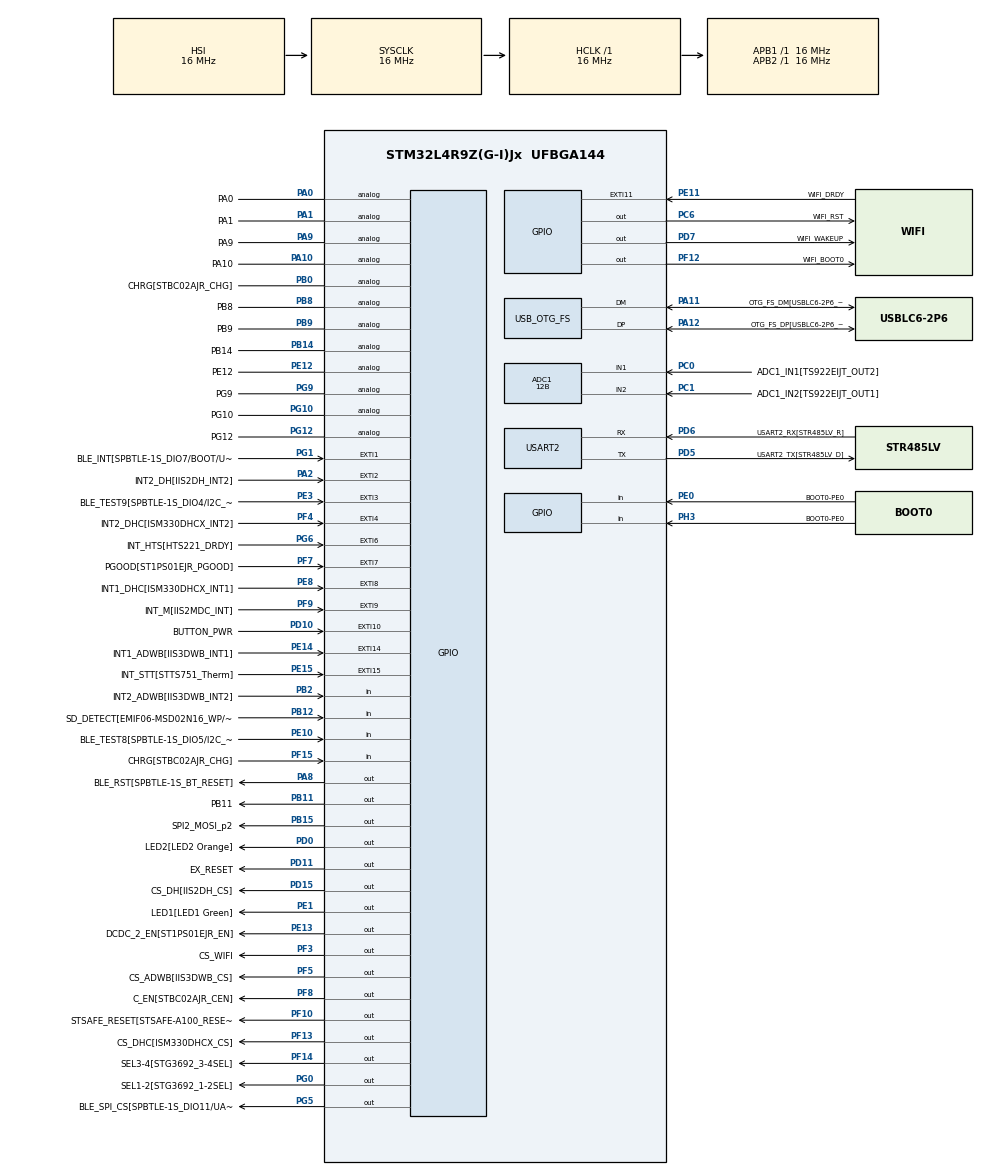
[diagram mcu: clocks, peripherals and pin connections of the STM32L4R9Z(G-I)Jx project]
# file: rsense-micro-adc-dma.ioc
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ADC1.Channel-0\#ChannelRegularConversion=ADC_CHANNEL_1
ADC1.ClockPrescaler=ADC_CLOCK_ASYNC_DIV8
ADC1.ContinuousConvMode=ENABLE
ADC1.DMAContinuousRequests=ENABLE
ADC1.EnableInjectedConversion=DISABLE
ADC1.NbrOfConversion=1
ADC1.NbrOfConversionFlag=1
ADC1.OffsetNumber-0\#ChannelRegularConversion=ADC_OFFSET_NONE
ADC1.Rank-0\#ChannelRegularConversion=1
ADC1.Resolution=ADC_RESOLUTION_12B
ADC1.SamplingTime-0\#ChannelRegularConversion=ADC_SAMPLETIME_2CYCLES_5
ADC1.SingleDiff-0\#ChannelRegularConversion=ADC_DIFFERENTIAL_ENDED
ADC1.master=1
Dma.ADC1.0.Direction=DMA_PERIPH_TO_MEMORY
Dma.ADC1.0.EventEnable=DISABLE
Dma.ADC1.0.Instance=DMA1_Channel1
Dma.ADC1.0.MemDataAlignment=DMA_MDATAALIGN_HALFWORD
Dma.ADC1.0.MemInc=DMA_MINC_ENABLE
Dma.ADC1.0.Mode=DMA_CIRCULAR
Dma.ADC1.0.PeriphDataAlignment=DMA_PDATAALIGN_HALFWORD
Dma.ADC1.0.PeriphInc=DMA_PINC_DISABLE
Dma.ADC1.0.Polarity=HAL_DMAMUX_REQUEST_GEN_RISING
Dma.ADC1.0.Priority=DMA_PRIORITY_LOW
Dma.ADC1.0.RequestNumber=1
Dma.ADC1.0.SignalID=NONE
Dma.ADC1.0.SyncEnable=DISABLE
Dma.ADC1.0.SyncPolarity=HAL_DMAMUX_SYNC_NO_EVENT
Dma.ADC1.0.SyncRequestNumber=1
Dma.ADC1.0.SyncSignalID=NONE
Dma.Request0=ADC1
Dma.Request1=USART2_TX
Dma.USART2_TX.1.Direction=DMA_MEMORY_TO_PERIPH
Dma.USART2_TX.1.EventEnable=DISABLE
Dma.USART2_TX.1.Instance=DMA1_Channel2
Dma.USART2_TX.1.MemDataAlignment=DMA_MDATAALIGN_BYTE
Dma.USART2_TX.1.MemInc=DMA_MINC_ENABLE
Dma.USART2_TX.1.Mode=DMA_NORMAL
Dma.USART2_TX.1.PeriphDataAlignment=DMA_PDATAALIGN_BYTE
Dma.USART2_TX.1.PeriphInc=DMA_PINC_DISABLE
Dma.USART2_TX.1.Polarity=HAL_DMAMUX_REQUEST_GEN_RISING
Dma.USART2_TX.1.Priority=DMA_PRIORITY_LOW
Dma.USART2_TX.1.RequestNumber=1
Dma.USART2_TX.1.SignalID=NONE
Dma.USART2_TX.1.SyncEnable=DISABLE
Dma.USART2_TX.1.SyncPolarity=HAL_DMAMUX_SYNC_NO_EVENT
Dma.USART2_TX.1.SyncRequestNumber=1
Dma.USART2_TX.1.SyncSignalID=NONE
Mcu.Family=STM32L4
Mcu.Name=STM32L4R9Z(G-I)Jx
Mcu.Package=UFBGA144
NVIC.DMA1_Channel1_IRQn=true\:0\:0\:false\:false\:true\:false\:true
NVIC.DMA1_Channel2_IRQn=true\:0\:0\:false\:false\:true\:false\:true
NVIC.OTG_FS_IRQn=true\:0\:0\:false\:false\:true\:false\:true
NVIC.PriorityGroup=NVIC_PRIORITYGROUP_4
PA0.GPIO_Label=PA0
PA0.Signal=GPIO_Analog
PA1.GPIO_Label=PA1
PA1.Signal=GPIO_Analog
PA10.GPIO_Label=PA10
PA10.Signal=GPIO_Analog
PA11.GPIO_Label=OTG_FS_DM[USBLC6-2P6_D2]
PA11.Mode=Device_Only
PA11.Signal=USB_OTG_FS_DM
PA12.GPIO_Label=OTG_FS_DP[USBLC6-2P6_D1]
PA12.Mode=Device_Only
PA12.Signal=USB_OTG_FS_DP
PA13\ (JTMS/SWDIO).GPIO_Label=SWDIO
PA13\ (JTMS/SWDIO).Mode=Serial_Wire
PA13\ (JTMS/SWDIO).Signal=SYS_JTMS-SWDIO
PA14\ (JTCK/SWCLK).GPIO_Label=SWDCLK
PA14\ (JTCK/SWCLK).Mode=Serial_Wire
PA14\ (JTCK/SWCLK).Signal=SYS_JTCK-SWCLK
PA15\ (JTDI).GPIO_Label=EX_PWM
PA15\ (JTDI).Signal=S_TIM2_CH1
PA2.GPIO_Label=INT2_DH[IIS2DH_INT2]
PA2.Signal=GPXTI2
PA4.GPIO_Label=DAC1_OUT1
PA4.Signal=COMP_DAC11_group
PA8.GPIO_Label=BLE_RST[SPBTLE-1S_BT_RESET]
PA8.Signal=GPIO_Output
PA9.GPIO_Label=PA9
PA9.Signal=GPIO_Analog
PB0.GPIO_Label=CHRG[STBC02AJR_CHG]
PB0.Signal=GPIO_Analog
PB1.GPIO_Label=USART3_RTS[STG3692_3S2]
PB1.Signal=USART3_RTS
PB10.GPIO_Label=DFSDM1_D7
PB10.GPIO_PuPd=GPIO_PULLDOWN
PB10.GPIO_Speed=GPIO_SPEED_FREQ_VERY_HIGH
PB10.Signal=S_DATAIN7DFSDM1
PB11.GPIO_Label=PB11
PB11.Signal=GPIO_Output
PB12.GPIO_Label=SD_DETECT[EMIF06-MSD02N16_WP/CD]
PB12.Signal=GPIO_Input
PB13.GPIO_Label=USART3_CTS
PB13.Signal=USART3_CTS
PB14.GPIO_Label=PB14
PB14.Signal=GPIO_Analog
PB15.GPIO_Label=SPI2_MOSI_p2
PB15.Signal=GPIO_Output
PB2.GPIO_Label=INT2_ADWB[IIS3DWB_INT2]
PB2.Signal=GPIO_Input
PB3\ (JTDO/TRACESWO).GPIO_Label=SPI3_CLK[SENSORS_SCL]
PB3\ (JTDO/TRACESWO).Signal=SPI3_SCK
PB4\ (NJTRST).GPIO_Label=SPI3_MISO[SENSORS_SDO]
PB4\ (NJTRST).Signal=SPI3_MISO
PB5.GPIO_Label=SPI3_MOSI[SENSORS_SDA]
PB5.Signal=SPI3_MOSI
PB6.GPIO_Label=DFSDM1_DATIN5[IMP34DT05_DOUT]
PB6.GPIO_PuPd=GPIO_PULLDOWN
PB6.GPIO_Speed=GPIO_SPEED_FREQ_VERY_HIGH
PB6.Signal=S_DATAIN5DFSDM1
PB8.GPIO_Label=PB8
PB8.Signal=GPIO_Analog
PB9.GPIO_Label=PB9
PB9.Signal=GPIO_Analog
PC0.GPIO_Label=ADC1_IN1[TS922EIJT_OUT2]
PC0.Signal=ADCx_IN1
PC1.GPIO_Label=ADC1_IN2[TS922EIJT_OUT1]
PC1.Signal=ADCx_IN2
PC10.GPIO_Label=SDMMC_D2[EMIF06-MSD02N16_DAT2_In]
PC10.Signal=SDMMC1_D2
PC11.GPIO_Label=SDMMC_D3[EMIF06-MSD02N16_DAT3_In]
PC11.Signal=SDMMC1_D3
PC12.GPIO_Label=SDMMC_CK[EMIF06-MSD02N16_CLK_In]
PC12.Signal=SDMMC1_CK
PC13.GPIO_Label=RTC_TAMP1
PC13.Signal=RTC_TAMP1
PC14-OSC32_IN\ (PC14).GPIO_Label=OSC32_IN
PC14-OSC32_IN\ (PC14).Signal=RCC_OSC32_IN
PC15-OSC32_OUT\ (PC15).GPIO_Label=OSC32_OUT
PC15-OSC32_OUT\ (PC15).Signal=RCC_OSC32_OUT
PC2.GPIO_Label=SPI2_MISO[SPBTLE-1S_DIO2/SPI_MISO]
PC2.Signal=SPI2_MISO
PC3.GPIO_Label=SPI2_MOSI[SPBTLE-1S_DIO3/SPI_MOSI]
PC3.Signal=SPI2_MOSI
PC5.GPIO_Label=PC5/WKUP5
PC5.Signal=SYS_WKUP5
PC6.GPIO_Label=WIFI_RST
PC6.Signal=GPIO_Output
PC8.GPIO_Label=SDMMC_D0[EMIF06-MSD02N16_DAT0_In]
PC8.Signal=SDMMC1_D0
PC9.GPIO_Label=SDMMC_D1[EMIF06-MSD02N16_DAT1_In]
PC9.Signal=SDMMC1_D1
PD0.GPIO_Label=LED2[LED2 Orange]
PD0.Signal=GPIO_Output
PD1.GPIO_Label=SPI2_CLK[SPBTLE-1S_DIO0/SPI_CLK]
PD1.Signal=SPI2_SCK
PD10.GPIO_Label=BUTTON_PWR
PD10.Signal=GPXTI10
PD11.GPIO_Label=EX_RESET 
PD11.Signal=GPIO_Output
PD12.GPIO_Label=I2C4_SCL
PD12.Signal=I2C4_SCL
PD13.GPIO_Label=I2C4_SDA
PD13.Signal=I2C4_SDA
PD15.GPIO_Label=CS_DH[IIS2DH_CS]
PD15.Signal=GPIO_Output
PD2.GPIO_Label=SDMMC_CMD[EMIF06-MSD02N16_CMD_In]
PD2.Signal=SDMMC1_CMD
PD4.GPIO_Label=USART2_RTS[STR485LV_DE]
PD4.Signal=USART2_RTS
PD5.GPIO_Label=USART2_TX[STR485LV_D]
PD5.Mode=Asynchronous
PD5.Signal=USART2_TX
PD6.GPIO_Label=USART2_RX[STR485LV_R]
PD6.Mode=Asynchronous
PD6.Signal=USART2_RX
PD7.GPIO_Label=WIFI_WAKEUP
PD7.Signal=GPIO_Output
PD8.GPIO_Label=USART3_TX[STG3692_1S1]
PD8.Signal=USART3_TX
PD9.GPIO_Label=USART3_RX[STG3692_2S1]
PD9.Signal=USART3_RX
PE0.GPIO_Label=BOOT0-PE0
PE0.Signal=GPIO_Input
PE1.GPIO_Label=LED1[LED1 Green]
PE1.Signal=GPIO_Output
PE10.GPIO_Label=BLE_TEST8[SPBTLE-1S_DIO5/I2C_SDA]
PE10.Signal=GPIO_Input
PE11.GPIO_Label=WIFI_DRDY
PE11.Signal=GPXTI11
PE12.GPIO_Label=PE12
PE12.Signal=GPIO_Analog
PE13.GPIO_Label=DCDC_2_EN[ST1PS01EJR_EN]
PE13.Signal=GPIO_Output
PE14.GPIO_Label=INT1_ADWB[IIS3DWB_INT1]
PE14.Signal=GPXTI14
PE15.GPIO_Label=INT_STT[STTS751_Therm]
PE15.Signal=GPXTI15
PE2.GPIO_Label=SAI1_MCLK_A
PE2.Signal=SAI1_MCLK_A
PE3.GPIO_Label=BLE_TEST9[SPBTLE-1S_DIO4/I2C_CLK]
PE3.Signal=GPXTI3
PE4.GPIO_Label=SAI1_FS_A/DFSDM_D3
PE4.Signal=SAI1_FS_A
PE5.GPIO_Label=SAI1_SCK_A
PE5.Signal=SAI1_SCK_A
PE6.GPIO_Label=SAI1_SD_A
PE6.Signal=SAI1_SD_A
PE7.GPIO_Label=SAI1_SD_B
PE7.Signal=SAI1_SD_B
PE8.GPIO_Label=INT1_DHC[ISM330DHCX_INT1]
PE8.Signal=GPXTI8
PE9.GPIO_Label=DFSDM1_CKOUT[IMP34DT05_CLK]
PE9.GPIO_PuPd=GPIO_PULLDOWN
PE9.GPIO_Speed=GPIO_SPEED_FREQ_VERY_HIGH
PE9.Signal=S_CKOUTDFSDM1
PF0.GPIO_Label=I2C2_SDA[SENSORS_SDA]
PF0.Signal=I2C2_SDA
PF1.GPIO_Label=I2C2_SDA[SENSORS_SCL]
PF1.Signal=I2C2_SCL
PF10.GPIO_Label=STSAFE_RESET[STSAFE-A100_RESET]
PF10.Signal=GPIO_Output
PF12.GPIO_Label=WIFI_BOOT0
PF12.Signal=GPIO_Output
PF13.GPIO_Label=CS_DHC[ISM330DHCX_CS]
PF13.Signal=GPIO_Output
PF14.GPIO_Label=SEL3-4[STG3692_3-4SEL]
PF14.Signal=GPIO_Output
PF15.GPIO_Label=CHRG[STBC02AJR_CHG]
PF15.Signal=GPIO_Input
PF2.GPIO_Label=I2C2_SMBA[STTS751_EV]
PF2.Signal=I2C2_SMBA
PF3.GPIO_Label=CS_WIFI
PF3.Signal=GPIO_Output
PF4.GPIO_Label=INT2_DHC[ISM330DHCX_INT2]
PF4.Signal=GPXTI4
PF5.GPIO_Label=CS_ADWB[IIS3DWB_CS]
PF5.Signal=GPIO_Output
PF6.GPIO_Label=SW_SEL[STBC02AJR_SW_SEL]
PF6.GPIO_Speed=GPIO_SPEED_FREQ_HIGH
PF6.Signal=S_TIM5_CH1
PF7.GPIO_Label=PGOOD[ST1PS01EJR_PGOOD]
PF7.Signal=GPXTI7
PF8.GPIO_Label=C_EN[STBC02AJR_CEN]
PF8.Signal=GPIO_Output
PF9.GPIO_Label=INT_M[IIS2MDC_INT]
PF9.Signal=GPXTI9
PG0.GPIO_Label=SEL1-2[STG3692_1-2SEL]
PG0.Signal=GPIO_Output
PG1.GPIO_Label=BLE_INT[SPBTLE-1S_DIO7/BOOT/UART_CTS]
PG1.Signal=GPXTI1
PG10.GPIO_Label=PG10
PG10.Signal=GPIO_Analog
PG12.GPIO_Label=PG12
PG12.Signal=GPIO_Analog
PG2.GPIO_Label=SPI1_CLK
PG2.Signal=SPI1_SCK
PG3.GPIO_Label=SPI1_MISO
PG3.Signal=SPI1_MISO
PG4.GPIO_Label=SPI1_MOSI
PG4.Signal=SPI1_MOSI
PG5.GPIO_Label=BLE_SPI_CS[SPBTLE-1S_DIO11/UART_RXD]
PG5.Signal=GPIO_Output
PG6.GPIO_Label=INT_HTS[HTS221_DRDY]
PG6.Signal=GPXTI6
PG7.GPIO_Label=I2C3_SCL
PG7.Signal=I2C3_SCL
PG8.GPIO_Label=I2C3_SDA
PG8.Signal=I2C3_SDA
PG9.GPIO_Label=PG9
PG9.Signal=GPIO_Analog
PH0-OSC_IN\ (PH0).GPIO_Label=OSC_IN
PH0-OSC_IN\ (PH0).Signal=RCC_OSC_IN
PH1-OSC_OUT\ (PH1).GPIO_Label=OSC_OUT
PH1-OSC_OUT\ (PH1).Signal=RCC_OSC_OUT
PH3-BOOT0.GPIO_Label=BOOT0-PE0
PH3-BOOT0.Signal=GPIO_Input
ProjectManager.HeapSize=0x200
ProjectManager.StackSize=0x400
ProjectManager.TargetToolchain=STM32CubeIDE
RCC.ADCCLockSelection=RCC_ADCCLKSOURCE_SYSCLK
RCC.ADCFreq_Value=16000000
RCC.AHBFreq_Value=16000000
RCC.APB1Freq_Value=16000000
RCC.APB1TimFreq_Value=16000000
RCC.APB2Freq_Value=16000000
RCC.APB2TimFreq_Value=16000000
RCC.CK48CLockSelection=RCC_USBCLKSOURCE_HSI48
RCC.CortexFreq_Value=16000000
RCC.DSITX_Div=1
RCC.HCLKFreq_Value=16000000
RCC.HSE_VALUE=16000000
RCC.HSI48_VALUE=48000000
RCC.HSI_VALUE=16000000
RCC.LSE_VALUE=32768
RCC.MSI_VALUE=4000000
RCC.PLLDSIODF=DSI_PLL_OUT_DIV2
RCC.PLLM1=2
RCC.PLLM2=5
RCC.PLLM3=2
RCC.PLLN=30
RCC.PLLSAI1N=96
RCC.PLLSAI1P=RCC_PLLP_DIV25
RCC.PLLSAI1Q=RCC_PLLQ_DIV4
RCC.PLLSAI1R=RCC_PLLR_DIV4
RCC.PLLSourceVirtual=RCC_PLLSOURCE_HSI
RCC.RTCClockSelection=RCC_RTCCLKSOURCE_LSE
RCC.SDMMCClockSelection=RCC_SDIOCLKSOURCE_CLK48
RCC.SYSCLKFreq_VALUE=16000000
RCC.SYSCLKSource=RCC_SYSCLKSOURCE_HSI
RCC.USBFreq_Value=48000000
RCC.VCOOutputFreq_Value=240000000
SH.ADCx_IN1.0=ADC1_IN1,IN1-Differential
SH.ADCx_IN2.0=ADC1_IN2,IN1-Differential
SH.COMP_DAC11_group.0=DAC1_OUT1
SH.S_CKOUTDFSDM1.0=DFSDM1_CKOUT
SH.S_DATAIN5DFSDM1.0=DFSDM1_DATIN5
SH.S_DATAIN7DFSDM1.0=DFSDM1_DATIN7
SH.S_TIM2_CH1.0=TIM2_CH1
SH.S_TIM5_CH1.0=TIM5_CH1
USART2.VirtualMode-Asynchronous=VM_ASYNC
USB_DEVICE.CLASS_NAME_FS=CDC
USB_DEVICE.VirtualMode=Cdc
USB_DEVICE.VirtualModeFS=Cdc_FS
USB_OTG_FS.VirtualMode=Device_Only
VP_USB_DEVICE_VS_USB_DEVICE_CDC_FS.Mode=CDC_FS
board=STEVAL-STWINKT1

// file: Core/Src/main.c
/* USER CODE BEGIN Header */
/**
 ******************************************************************************
 * @file           : main.c
 * @brief          : Main program body
 ******************************************************************************
 * @attention
 *
 * <h2><center>&copy; Copyright (c) 2021 STMicroelectronics.
 * All rights reserved.</center></h2>
 *
 * This software component is licensed by ST under BSD 3-Clause license,
 * the "License"; You may not use this file except in compliance with the
 * License. You may obtain a copy of the License at:
 *                        opensource.org/licenses/BSD-3-Clause
 *
 ******************************************************************************
 */
/* USER CODE END Header */
#include "main.h"
#include "usb_device.h"

/* USER CODE BEGIN Includes */
#define ARM_MATH_CM4
#include "arm_math.h"
#include <stdio.h>
#include <stdlib.h>
#include <audio_fft.h>
#include <math.h>
//#include "usbd_cdc_if.h"

/* USER CODE END Includes */

ADC_HandleTypeDef hadc1;
DMA_HandleTypeDef hdma_adc1;

UART_HandleTypeDef huart2;
DMA_HandleTypeDef hdma_usart2_tx;

/* USER CODE BEGIN PV */
#define ADC_BUF_LEN 512//4096
int16_t adc_buf[ADC_BUF_LEN];

/* USER CODE END PV */

void SystemClock_Config(void);
static void MX_GPIO_Init(void);
static void MX_DMA_Init(void);
static void MX_ADC1_Init(void);
static void MX_USART2_UART_Init(void);
/* USER CODE BEGIN PFP */
void DMATransferComplete(DMA_HandleTypeDef *hdma);
AUDIO_FFT_instance_t audio_fft_M1;
/* USER CODE END PFP */

/* USER CODE BEGIN 0 */
uint8_t completo = 0;
float * FFT_Out;
float * FFT_Average;
enum ms_t {apagados, principal_normal, principal_maximo, alimentacion_normal, alimentacion_maximo};
enum ms_t estado;
/* USER CODE END 0 */

int main(void)
{
  /* USER CODE BEGIN 1 */
	estado = apagados;
  /* USER CODE END 1 */

  /* MCU Configuration--------------------------------------------------------*/

  /* Reset of all peripherals, Initializes the Flash interface and the Systick. */
  HAL_Init();

  /* Configure the system clock */
  SystemClock_Config();

  /* Initialize all configured peripherals */
  MX_GPIO_Init();
  MX_DMA_Init();
  MX_ADC1_Init();
  MX_USART2_UART_Init();
  MX_USB_DEVICE_Init();
  /* USER CODE BEGIN 2 */
	//	HAL_DMA_RegisterCallback(&hdma_usart2_tx, HAL_DMA_XFER_CPLT_CB_ID, &DMATransferComplete);
	HAL_ADC_Start_DMA(&hadc1, (int32_t*)adc_buf, ADC_BUF_LEN);

	audio_fft_M1.sampling_frequency = 133333; 					//66667; //
	audio_fft_M1.FFT_len = 1024;
	audio_fft_M1.overlap = 0.5f;
	audio_fft_M1.win_type = AUDIO_FTT_HANNING_WIN;
	audio_fft_M1.output = MAGNITUDE;
	AUDIO_FFT_Init(&audio_fft_M1);

	/* Allocate output buffer */
	FFT_Out = calloc(audio_fft_M1.FFT_len / 2, sizeof(float));
	FFT_Average = calloc(audio_fft_M1.FFT_len / 2, sizeof(float));
  /* USER CODE END 2 */

  /* Infinite loop */
  /* USER CODE BEGIN WHILE */
	int16_t prueba[ADC_BUF_LEN];
	int16_t toSend[ADC_BUF_LEN+1];
	//float suma_ant, media;
	char msg[30];

	while (1)
	{
    /* USER CODE END WHILE */

    /* USER CODE BEGIN 3 */
		if (completo==1)
		{
			HAL_ADC_Stop_DMA(&hadc1);
			AUDIO_FFT_Data_Input(adc_buf, ADC_BUF_LEN, &audio_fft_M1);
			AUDIO_FFT_Process(&audio_fft_M1, FFT_Out);

			float suma = 0.0;
			int j=0;
			for (int i = 0; i<(ADC_BUF_LEN); i++){
				prueba[i] = 20 * log(FFT_Out[i]/256);
				suma = suma + prueba[i];
			}
			//media = (suma + suma_ant) / 2;
			//suma_ant = suma;

			switch (estado){
			case apagados:
				if ((suma<-107000.0f) & (suma>-110000.0f)){
					estado = principal_normal;
					strcpy(msg, "Principal Normal\r\n");
				}
				else if ((suma<-120000.0f) & (suma>-123000.0f)){
					estado = alimentacion_normal;
					strcpy(msg, "Alimentacion Normal\r\n");
				}
				else
					strcpy(msg, "Apagados\r\n");
				break;

			case principal_normal:
				if ((suma<-97000.0f) & (suma>-102000.0f)){
					estado = principal_maximo;
					strcpy(msg, "Principal Maximo\r\n");
				}
				else if (suma<-130000.0f){
					estado = apagados;
					strcpy(msg, "Apagados\r\n");
				}
				else
					strcpy(msg, "Principal Normal\r\n");
				break;

			case principal_maximo:
				if (suma<-109000.0f){
					estado = principal_normal;
					strcpy(msg, "Principal Normal\r\n");
				}
				else
					strcpy(msg, "Principal Maximo\r\n");
				break;

			case alimentacion_normal:
				if ((suma<-103000.0f) & (suma>-106000.0f)){
					estado = alimentacion_maximo;
					strcpy(msg, "Alimentacion Maximo\r\n");
				}
				else if (suma<-130000.0f){
					estado = apagados;
					strcpy(msg, "Apagados\r\n");
				}
				else
					strcpy(msg, "Alimentacion Normal\r\n");
				break;

			case alimentacion_maximo:
				if (suma<-120000.0f){
					estado = alimentacion_normal;
					strcpy(msg, "Alimentacion Normal\r\n");
				}
				else
					strcpy(msg, "Alimentacion Maximo\r\n");
				break;

			}
//			HAL_UART_Transmit(&huart2, &msg, strlen(msg), 100000000);

			toSend[0] = 0x3e3e;
			memcpy(&toSend[1], &prueba, sizeof(prueba));
			HAL_UART_Transmit(&huart2, &toSend, sizeof(toSend), 100000000);
			HAL_Delay(100);
						//CDC_Transmit_FS(&msg, strlen(msg));
			//			MX_USB_DEVICE_Init();
			//CDC_Transmit_FS(&toSend, sizeof(toSend));

			HAL_ADC_Start_DMA(&hadc1, (int32_t*)adc_buf, ADC_BUF_LEN);
			//HAL_Delay(10);
			completo = 0;
		}
	}
  /* USER CODE END 3 */
}

void SystemClock_Config(void)
{
  RCC_OscInitTypeDef RCC_OscInitStruct = {0};
  RCC_ClkInitTypeDef RCC_ClkInitStruct = {0};
  RCC_PeriphCLKInitTypeDef PeriphClkInit = {0};

  /** Configure the main internal regulator output voltage
  */
  if (HAL_PWREx_ControlVoltageScaling(PWR_REGULATOR_VOLTAGE_SCALE1) != HAL_OK)
  {
    Error_Handler();
  }
  /** Initializes the RCC Oscillators according to the specified parameters
  * in the RCC_OscInitTypeDef structure.
  */
  RCC_OscInitStruct.OscillatorType = RCC_OSCILLATORTYPE_HSI48|RCC_OSCILLATORTYPE_HSI;
  RCC_OscInitStruct.HSIState = RCC_HSI_ON;
  RCC_OscInitStruct.HSI48State = RCC_HSI48_ON;
  RCC_OscInitStruct.HSICalibrationValue = RCC_HSICALIBRATION_DEFAULT;
  RCC_OscInitStruct.PLL.PLLState = RCC_PLL_NONE;
  if (HAL_RCC_OscConfig(&RCC_OscInitStruct) != HAL_OK)
  {
    Error_Handler();
  }
  /** Initializes the CPU, AHB and APB buses clocks
  */
  RCC_ClkInitStruct.ClockType = RCC_CLOCKTYPE_HCLK|RCC_CLOCKTYPE_SYSCLK
                              |RCC_CLOCKTYPE_PCLK1|RCC_CLOCKTYPE_PCLK2;
  RCC_ClkInitStruct.SYSCLKSource = RCC_SYSCLKSOURCE_HSI;
  RCC_ClkInitStruct.AHBCLKDivider = RCC_SYSCLK_DIV1;
  RCC_ClkInitStruct.APB1CLKDivider = RCC_HCLK_DIV1;
  RCC_ClkInitStruct.APB2CLKDivider = RCC_HCLK_DIV1;

  if (HAL_RCC_ClockConfig(&RCC_ClkInitStruct, FLASH_LATENCY_0) != HAL_OK)
  {
    Error_Handler();
  }
  PeriphClkInit.PeriphClockSelection = RCC_PERIPHCLK_USART2|RCC_PERIPHCLK_USB
                              |RCC_PERIPHCLK_ADC;
  PeriphClkInit.Usart2ClockSelection = RCC_USART2CLKSOURCE_PCLK1;
  PeriphClkInit.AdcClockSelection = RCC_ADCCLKSOURCE_SYSCLK;
  PeriphClkInit.UsbClockSelection = RCC_USBCLKSOURCE_HSI48;
  if (HAL_RCCEx_PeriphCLKConfig(&PeriphClkInit) != HAL_OK)
  {
    Error_Handler();
  }
}

static void MX_ADC1_Init(void)
{

  ADC_ChannelConfTypeDef sConfig = {0};

  /** Common config
  */
  hadc1.Instance = ADC1;
  hadc1.Init.ClockPrescaler = ADC_CLOCK_ASYNC_DIV8;
  hadc1.Init.Resolution = ADC_RESOLUTION_12B;
  hadc1.Init.DataAlign = ADC_DATAALIGN_RIGHT;
  hadc1.Init.ScanConvMode = ADC_SCAN_DISABLE;
  hadc1.Init.EOCSelection = ADC_EOC_SINGLE_CONV;
  hadc1.Init.LowPowerAutoWait = DISABLE;
  hadc1.Init.ContinuousConvMode = ENABLE;
  hadc1.Init.NbrOfConversion = 1;
  hadc1.Init.DiscontinuousConvMode = DISABLE;
  hadc1.Init.ExternalTrigConv = ADC_SOFTWARE_START;
  hadc1.Init.ExternalTrigConvEdge = ADC_EXTERNALTRIGCONVEDGE_NONE;
  hadc1.Init.DMAContinuousRequests = ENABLE;
  hadc1.Init.Overrun = ADC_OVR_DATA_PRESERVED;
  hadc1.Init.OversamplingMode = DISABLE;
  if (HAL_ADC_Init(&hadc1) != HAL_OK)
  {
    Error_Handler();
  }
  /** Configure Regular Channel
  */
  sConfig.Channel = ADC_CHANNEL_1;
  sConfig.Rank = ADC_REGULAR_RANK_1;
  sConfig.SamplingTime = ADC_SAMPLETIME_2CYCLES_5;
  sConfig.SingleDiff = ADC_DIFFERENTIAL_ENDED;
  sConfig.OffsetNumber = ADC_OFFSET_NONE;
  sConfig.Offset = 0;
  if (HAL_ADC_ConfigChannel(&hadc1, &sConfig) != HAL_OK)
  {
    Error_Handler();
  }

}

static void MX_USART2_UART_Init(void)
{

  huart2.Instance = USART2;
  huart2.Init.BaudRate = 115200;
  huart2.Init.WordLength = UART_WORDLENGTH_8B;
  huart2.Init.StopBits = UART_STOPBITS_1;
  huart2.Init.Parity = UART_PARITY_NONE;
  huart2.Init.Mode = UART_MODE_TX_RX;
  huart2.Init.HwFlowCtl = UART_HWCONTROL_NONE;
  huart2.Init.OverSampling = UART_OVERSAMPLING_16;
  huart2.Init.OneBitSampling = UART_ONE_BIT_SAMPLE_DISABLE;
  huart2.Init.ClockPrescaler = UART_PRESCALER_DIV1;
  huart2.AdvancedInit.AdvFeatureInit = UART_ADVFEATURE_NO_INIT;
  if (HAL_UART_Init(&huart2) != HAL_OK)
  {
    Error_Handler();
  }
  if (HAL_UARTEx_SetTxFifoThreshold(&huart2, UART_TXFIFO_THRESHOLD_1_8) != HAL_OK)
  {
    Error_Handler();
  }
  if (HAL_UARTEx_SetRxFifoThreshold(&huart2, UART_RXFIFO_THRESHOLD_1_8) != HAL_OK)
  {
    Error_Handler();
  }
  if (HAL_UARTEx_DisableFifoMode(&huart2) != HAL_OK)
  {
    Error_Handler();
  }

}

static void MX_DMA_Init(void)
{

  /* DMA controller clock enable */
  __HAL_RCC_DMAMUX1_CLK_ENABLE();
  __HAL_RCC_DMA1_CLK_ENABLE();

  /* DMA interrupt init */
  /* DMA1_Channel1_IRQn interrupt configuration */
  HAL_NVIC_SetPriority(DMA1_Channel1_IRQn, 0, 0);
  HAL_NVIC_EnableIRQ(DMA1_Channel1_IRQn);
  /* DMA1_Channel2_IRQn interrupt configuration */
  HAL_NVIC_SetPriority(DMA1_Channel2_IRQn, 0, 0);
  HAL_NVIC_EnableIRQ(DMA1_Channel2_IRQn);

}

static void MX_GPIO_Init(void)
{
  GPIO_InitTypeDef GPIO_InitStruct = {0};

  /* GPIO Ports Clock Enable */
  __HAL_RCC_GPIOE_CLK_ENABLE();
  __HAL_RCC_GPIOB_CLK_ENABLE();
  __HAL_RCC_GPIOH_CLK_ENABLE();
  __HAL_RCC_GPIOC_CLK_ENABLE();
  __HAL_RCC_GPIOA_CLK_ENABLE();
  __HAL_RCC_GPIOD_CLK_ENABLE();
  __HAL_RCC_GPIOG_CLK_ENABLE();
  HAL_PWREx_EnableVddIO2();
  __HAL_RCC_GPIOF_CLK_ENABLE();

  /*Configure GPIO pin Output Level */
  HAL_GPIO_WritePin(GPIOE, LED1_Pin|DCDC_2_EN_Pin, GPIO_PIN_RESET);

  /*Configure GPIO pin Output Level */
  HAL_GPIO_WritePin(GPIOD, LED2_Pin|WIFI_WAKEUP_Pin|CS_DH_Pin|EX_RESET_Pin, GPIO_PIN_RESET);

  /*Configure GPIO pin Output Level */
  HAL_GPIO_WritePin(BLE_RST_GPIO_Port, BLE_RST_Pin, GPIO_PIN_RESET);

  /*Configure GPIO pin Output Level */
  HAL_GPIO_WritePin(WIFI_RST_GPIO_Port, WIFI_RST_Pin, GPIO_PIN_RESET);

  /*Configure GPIO pin Output Level */
  HAL_GPIO_WritePin(GPIOF, CS_WIFI_Pin|C_EN_Pin|CS_ADWB_Pin|STSAFE_RESET_Pin
                          |WIFI_BOOT0_Pin|CS_DHC_Pin|SEL3_4_Pin, GPIO_PIN_RESET);

  /*Configure GPIO pin Output Level */
  HAL_GPIO_WritePin(GPIOG, BLE_SPI_CS_Pin|SEL1_2_Pin, GPIO_PIN_RESET);

  /*Configure GPIO pin Output Level */
  HAL_GPIO_WritePin(GPIOB, SPI2_MOSI_p2_Pin|PB11_Pin, GPIO_PIN_RESET);

  /*Configure GPIO pins : BOOT0_PE0_Pin BLE_TEST8_Pin */
  GPIO_InitStruct.Pin = BOOT0_PE0_Pin|BLE_TEST8_Pin;
  GPIO_InitStruct.Mode = GPIO_MODE_INPUT;
  GPIO_InitStruct.Pull = GPIO_NOPULL;
  HAL_GPIO_Init(GPIOE, &GPIO_InitStruct);

  /*Configure GPIO pins : PB9_Pin PB8_Pin PB14_Pin CHRGB0_Pin */
  GPIO_InitStruct.Pin = PB9_Pin|PB8_Pin|PB14_Pin|CHRGB0_Pin;
  GPIO_InitStruct.Mode = GPIO_MODE_ANALOG;
  GPIO_InitStruct.Pull = GPIO_NOPULL;
  HAL_GPIO_Init(GPIOB, &GPIO_InitStruct);

  /*Configure GPIO pin : BOOT0_PE0H3_Pin */
  GPIO_InitStruct.Pin = BOOT0_PE0H3_Pin;
  GPIO_InitStruct.Mode = GPIO_MODE_INPUT;
  GPIO_InitStruct.Pull = GPIO_NOPULL;
  HAL_GPIO_Init(BOOT0_PE0H3_GPIO_Port, &GPIO_InitStruct);

  /*Configure GPIO pins : SPI3_MISO_Pin SPI3_MOSI_Pin SPI3_CLK_Pin */
  GPIO_InitStruct.Pin = SPI3_MISO_Pin|SPI3_MOSI_Pin|SPI3_CLK_Pin;
  GPIO_InitStruct.Mode = GPIO_MODE_AF_PP;
  GPIO_InitStruct.Pull = GPIO_NOPULL;
  GPIO_InitStruct.Speed = GPIO_SPEED_FREQ_VERY_HIGH;
  GPIO_InitStruct.Alternate = GPIO_AF6_SPI3;
  HAL_GPIO_Init(GPIOB, &GPIO_InitStruct);

  /*Configure GPIO pins : SDMMC_D3_Pin SDMMC_D2_Pin SDMMC_D1_Pin SDMMC_CK_Pin
                           SDMMC_D0_Pin */
  GPIO_InitStruct.Pin = SDMMC_D3_Pin|SDMMC_D2_Pin|SDMMC_D1_Pin|SDMMC_CK_Pin
                          |SDMMC_D0_Pin;
  GPIO_InitStruct.Mode = GPIO_MODE_AF_PP;
  GPIO_InitStruct.Pull = GPIO_NOPULL;
  GPIO_InitStruct.Speed = GPIO_SPEED_FREQ_VERY_HIGH;
  GPIO_InitStruct.Alternate = GPIO_AF12_SDMMC1;
  HAL_GPIO_Init(GPIOC, &GPIO_InitStruct);

  /*Configure GPIO pins : BLE_TEST9_Pin WIFI_DRDY_Pin INT1_DHC_Pin INT_STT_Pin
                           INT1_ADWB_Pin */
  GPIO_InitStruct.Pin = BLE_TEST9_Pin|WIFI_DRDY_Pin|INT1_DHC_Pin|INT_STT_Pin
                          |INT1_ADWB_Pin;
  GPIO_InitStruct.Mode = GPIO_MODE_IT_RISING;
  GPIO_InitStruct.Pull = GPIO_NOPULL;
  HAL_GPIO_Init(GPIOE, &GPIO_InitStruct);

  /*Configure GPIO pin : SPI2_CLK_Pin */
  GPIO_InitStruct.Pin = SPI2_CLK_Pin;
  GPIO_InitStruct.Mode = GPIO_MODE_AF_PP;
  GPIO_InitStruct.Pull = GPIO_NOPULL;
  GPIO_InitStruct.Speed = GPIO_SPEED_FREQ_VERY_HIGH;
  GPIO_InitStruct.Alternate = GPIO_AF5_SPI2;
  HAL_GPIO_Init(SPI2_CLK_GPIO_Port, &GPIO_InitStruct);

  /*Configure GPIO pin : EX_PWM_Pin */
  GPIO_InitStruct.Pin = EX_PWM_Pin;
  GPIO_InitStruct.Mode = GPIO_MODE_AF_PP;
  GPIO_InitStruct.Pull = GPIO_NOPULL;
  GPIO_InitStruct.Speed = GPIO_SPEED_FREQ_LOW;
  GPIO_InitStruct.Alternate = GPIO_AF1_TIM2;
  HAL_GPIO_Init(EX_PWM_GPIO_Port, &GPIO_InitStruct);

  /*Configure GPIO pins : SAI1_SCK_A_Pin SAI1_MCLK_A_Pin SAI1_FS_A_DFSDM_D3_Pin SAI1_SD_A_Pin
                           SAI1_SD_B_Pin */
  GPIO_InitStruct.Pin = SAI1_SCK_A_Pin|SAI1_MCLK_A_Pin|SAI1_FS_A_DFSDM_D3_Pin|SAI1_SD_A_Pin
                          |SAI1_SD_B_Pin;
  GPIO_InitStruct.Mode = GPIO_MODE_AF_PP;
  GPIO_InitStruct.Pull = GPIO_NOPULL;
  GPIO_InitStruct.Speed = GPIO_SPEED_FREQ_LOW;
  GPIO_InitStruct.Alternate = GPIO_AF13_SAI1;
  HAL_GPIO_Init(GPIOE, &GPIO_InitStruct);

  /*Configure GPIO pins : LED1_Pin DCDC_2_EN_Pin */
  GPIO_InitStruct.Pin = LED1_Pin|DCDC_2_EN_Pin;
  GPIO_InitStruct.Mode = GPIO_MODE_OUTPUT_PP;
  GPIO_InitStruct.Pull = GPIO_NOPULL;
  GPIO_InitStruct.Speed = GPIO_SPEED_FREQ_LOW;
  HAL_GPIO_Init(GPIOE, &GPIO_InitStruct);

  /*Configure GPIO pins : LED2_Pin WIFI_WAKEUP_Pin CS_DH_Pin EX_RESET_Pin */
  GPIO_InitStruct.Pin = LED2_Pin|WIFI_WAKEUP_Pin|CS_DH_Pin|EX_RESET_Pin;
  GPIO_InitStruct.Mode = GPIO_MODE_OUTPUT_PP;
  GPIO_InitStruct.Pull = GPIO_NOPULL;
  GPIO_InitStruct.Speed = GPIO_SPEED_FREQ_LOW;
  HAL_GPIO_Init(GPIOD, &GPIO_InitStruct);

  /*Configure GPIO pins : PA10_Pin PA9_Pin PA0_Pin DAC1_OUT1_Pin
                           PA1_Pin */
  GPIO_InitStruct.Pin = PA10_Pin|PA9_Pin|PA0_Pin|DAC1_OUT1_Pin
                          |PA1_Pin;
  GPIO_InitStruct.Mode = GPIO_MODE_ANALOG;
  GPIO_InitStruct.Pull = GPIO_NOPULL;
  HAL_GPIO_Init(GPIOA, &GPIO_InitStruct);

  /*Configure GPIO pins : DFSDM1_DATIN5_Pin DFSDM1_D7_Pin */
  GPIO_InitStruct.Pin = DFSDM1_DATIN5_Pin|DFSDM1_D7_Pin;
  GPIO_InitStruct.Mode = GPIO_MODE_AF_PP;
  GPIO_InitStruct.Pull = GPIO_PULLDOWN;
  GPIO_InitStruct.Speed = GPIO_SPEED_FREQ_VERY_HIGH;
  GPIO_InitStruct.Alternate = GPIO_AF6_DFSDM1;
  HAL_GPIO_Init(GPIOB, &GPIO_InitStruct);

  /*Configure GPIO pins : PG12_Pin PG10_Pin PG9_Pin */
  GPIO_InitStruct.Pin = PG12_Pin|PG10_Pin|PG9_Pin;
  GPIO_InitStruct.Mode = GPIO_MODE_ANALOG;
  GPIO_InitStruct.Pull = GPIO_NOPULL;
  HAL_GPIO_Init(GPIOG, &GPIO_InitStruct);

  /*Configure GPIO pin : SDMMC_CMD_Pin */
  GPIO_InitStruct.Pin = SDMMC_CMD_Pin;
  GPIO_InitStruct.Mode = GPIO_MODE_AF_PP;
  GPIO_InitStruct.Pull = GPIO_NOPULL;
  GPIO_InitStruct.Speed = GPIO_SPEED_FREQ_VERY_HIGH;
  GPIO_InitStruct.Alternate = GPIO_AF12_SDMMC1;
  HAL_GPIO_Init(SDMMC_CMD_GPIO_Port, &GPIO_InitStruct);

  /*Configure GPIO pin : BLE_RST_Pin */
  GPIO_InitStruct.Pin = BLE_RST_Pin;
  GPIO_InitStruct.Mode = GPIO_MODE_OUTPUT_PP;
  GPIO_InitStruct.Pull = GPIO_NOPULL;
  GPIO_InitStruct.Speed = GPIO_SPEED_FREQ_LOW;
  HAL_GPIO_Init(BLE_RST_GPIO_Port, &GPIO_InitStruct);

  /*Configure GPIO pin : WIFI_RST_Pin */
  GPIO_InitStruct.Pin = WIFI_RST_Pin;
  GPIO_InitStruct.Mode = GPIO_MODE_OUTPUT_PP;
  GPIO_InitStruct.Pull = GPIO_NOPULL;
  GPIO_InitStruct.Speed = GPIO_SPEED_FREQ_LOW;
  HAL_GPIO_Init(WIFI_RST_GPIO_Port, &GPIO_InitStruct);

  /*Configure GPIO pins : I2C2_SMBA_Pin I2C2_SDA_Pin I2C2_SDAF0_Pin */
  GPIO_InitStruct.Pin = I2C2_SMBA_Pin|I2C2_SDA_Pin|I2C2_SDAF0_Pin;
  GPIO_InitStruct.Mode = GPIO_MODE_AF_OD;
  GPIO_InitStruct.Pull = GPIO_PULLUP;
  GPIO_InitStruct.Speed = GPIO_SPEED_FREQ_VERY_HIGH;
  GPIO_InitStruct.Alternate = GPIO_AF4_I2C2;
  HAL_GPIO_Init(GPIOF, &GPIO_InitStruct);

  /*Configure GPIO pins : CS_WIFI_Pin C_EN_Pin CS_ADWB_Pin STSAFE_RESET_Pin
                           WIFI_BOOT0_Pin CS_DHC_Pin SEL3_4_Pin */
  GPIO_InitStruct.Pin = CS_WIFI_Pin|C_EN_Pin|CS_ADWB_Pin|STSAFE_RESET_Pin
                          |WIFI_BOOT0_Pin|CS_DHC_Pin|SEL3_4_Pin;
  GPIO_InitStruct.Mode = GPIO_MODE_OUTPUT_PP;
  GPIO_InitStruct.Pull = GPIO_NOPULL;
  GPIO_InitStruct.Speed = GPIO_SPEED_FREQ_LOW;
  HAL_GPIO_Init(GPIOF, &GPIO_InitStruct);

  /*Configure GPIO pins : I2C3_SDA_Pin I2C3_SCL_Pin */
  GPIO_InitStruct.Pin = I2C3_SDA_Pin|I2C3_SCL_Pin;
  GPIO_InitStruct.Mode = GPIO_MODE_AF_OD;
  GPIO_InitStruct.Pull = GPIO_PULLUP;
  GPIO_InitStruct.Speed = GPIO_SPEED_FREQ_VERY_HIGH;
  GPIO_InitStruct.Alternate = GPIO_AF4_I2C3;
  HAL_GPIO_Init(GPIOG, &GPIO_InitStruct);

  /*Configure GPIO pin : SW_SEL_Pin */
  GPIO_InitStruct.Pin = SW_SEL_Pin;
  GPIO_InitStruct.Mode = GPIO_MODE_AF_PP;
  GPIO_InitStruct.Pull = GPIO_NOPULL;
  GPIO_InitStruct.Speed = GPIO_SPEED_FREQ_HIGH;
  GPIO_InitStruct.Alternate = GPIO_AF2_TIM5;
  HAL_GPIO_Init(SW_SEL_GPIO_Port, &GPIO_InitStruct);

  /*Configure GPIO pins : INT2_DHC_Pin PGOOD_Pin INT_M_Pin */
  GPIO_InitStruct.Pin = INT2_DHC_Pin|PGOOD_Pin|INT_M_Pin;
  GPIO_InitStruct.Mode = GPIO_MODE_IT_RISING;
  GPIO_InitStruct.Pull = GPIO_NOPULL;
  HAL_GPIO_Init(GPIOF, &GPIO_InitStruct);

  /*Configure GPIO pins : SPI1_MISO_Pin SPI1_MOSI_Pin SPI1_CLK_Pin */
  GPIO_InitStruct.Pin = SPI1_MISO_Pin|SPI1_MOSI_Pin|SPI1_CLK_Pin;
  GPIO_InitStruct.Mode = GPIO_MODE_AF_PP;
  GPIO_InitStruct.Pull = GPIO_NOPULL;
  GPIO_InitStruct.Speed = GPIO_SPEED_FREQ_VERY_HIGH;
  GPIO_InitStruct.Alternate = GPIO_AF5_SPI1;
  HAL_GPIO_Init(GPIOG, &GPIO_InitStruct);

  /*Configure GPIO pins : BLE_SPI_CS_Pin SEL1_2_Pin */
  GPIO_InitStruct.Pin = BLE_SPI_CS_Pin|SEL1_2_Pin;
  GPIO_InitStruct.Mode = GPIO_MODE_OUTPUT_PP;
  GPIO_InitStruct.Pull = GPIO_NOPULL;
  GPIO_InitStruct.Speed = GPIO_SPEED_FREQ_LOW;
  HAL_GPIO_Init(GPIOG, &GPIO_InitStruct);

  /*Configure GPIO pins : INT_HTS_Pin BLE_INT_Pin */
  GPIO_InitStruct.Pin = INT_HTS_Pin|BLE_INT_Pin;
  GPIO_InitStruct.Mode = GPIO_MODE_IT_RISING;
  GPIO_InitStruct.Pull = GPIO_NOPULL;
  HAL_GPIO_Init(GPIOG, &GPIO_InitStruct);

  /*Configure GPIO pins : I2C4_SCL_Pin I2C4_SDA_Pin */
  GPIO_InitStruct.Pin = I2C4_SCL_Pin|I2C4_SDA_Pin;
  GPIO_InitStruct.Mode = GPIO_MODE_AF_OD;
  GPIO_InitStruct.Pull = GPIO_PULLUP;
  GPIO_InitStruct.Speed = GPIO_SPEED_FREQ_VERY_HIGH;
  GPIO_InitStruct.Alternate = GPIO_AF4_I2C4;
  HAL_GPIO_Init(GPIOD, &GPIO_InitStruct);

  /*Configure GPIO pins : SPI2_MISO_Pin SPI2_MOSI_Pin */
  GPIO_InitStruct.Pin = SPI2_MISO_Pin|SPI2_MOSI_Pin;
  GPIO_InitStruct.Mode = GPIO_MODE_AF_PP;
  GPIO_InitStruct.Pull = GPIO_NOPULL;
  GPIO_InitStruct.Speed = GPIO_SPEED_FREQ_VERY_HIGH;
  GPIO_InitStruct.Alternate = GPIO_AF5_SPI2;
  HAL_GPIO_Init(GPIOC, &GPIO_InitStruct);

  /*Configure GPIO pins : INT2_ADWB_Pin SD_DETECT_Pin */
  GPIO_InitStruct.Pin = INT2_ADWB_Pin|SD_DETECT_Pin;
  GPIO_InitStruct.Mode = GPIO_MODE_INPUT;
  GPIO_InitStruct.Pull = GPIO_NOPULL;
  HAL_GPIO_Init(GPIOB, &GPIO_InitStruct);

  /*Configure GPIO pin : CHRG_Pin */
  GPIO_InitStruct.Pin = CHRG_Pin;
  GPIO_InitStruct.Mode = GPIO_MODE_INPUT;
  GPIO_InitStruct.Pull = GPIO_NOPULL;
  HAL_GPIO_Init(CHRG_GPIO_Port, &GPIO_InitStruct);

  /*Configure GPIO pin : BUTTON_PWR_Pin */
  GPIO_InitStruct.Pin = BUTTON_PWR_Pin;
  GPIO_InitStruct.Mode = GPIO_MODE_IT_RISING;
  GPIO_InitStruct.Pull = GPIO_NOPULL;
  HAL_GPIO_Init(BUTTON_PWR_GPIO_Port, &GPIO_InitStruct);

  /*Configure GPIO pins : USART3_RX_Pin USART3_TX_Pin */
  GPIO_InitStruct.Pin = USART3_RX_Pin|USART3_TX_Pin;
  GPIO_InitStruct.Mode = GPIO_MODE_AF_PP;
  GPIO_InitStruct.Pull = GPIO_NOPULL;
  GPIO_InitStruct.Speed = GPIO_SPEED_FREQ_VERY_HIGH;
  GPIO_InitStruct.Alternate = GPIO_AF7_USART3;
  HAL_GPIO_Init(GPIOD, &GPIO_InitStruct);

  /*Configure GPIO pins : USART3_RTS_Pin USART3_CTS_Pin */
  GPIO_InitStruct.Pin = USART3_RTS_Pin|USART3_CTS_Pin;
  GPIO_InitStruct.Mode = GPIO_MODE_AF_PP;
  GPIO_InitStruct.Pull = GPIO_NOPULL;
  GPIO_InitStruct.Speed = GPIO_SPEED_FREQ_VERY_HIGH;
  GPIO_InitStruct.Alternate = GPIO_AF7_USART3;
  HAL_GPIO_Init(GPIOB, &GPIO_InitStruct);

  /*Configure GPIO pin : DFSDM1_CKOUT_Pin */
  GPIO_InitStruct.Pin = DFSDM1_CKOUT_Pin;
  GPIO_InitStruct.Mode = GPIO_MODE_AF_PP;
  GPIO_InitStruct.Pull = GPIO_PULLDOWN;
  GPIO_InitStruct.Speed = GPIO_SPEED_FREQ_VERY_HIGH;
  GPIO_InitStruct.Alternate = GPIO_AF6_DFSDM1;
  HAL_GPIO_Init(DFSDM1_CKOUT_GPIO_Port, &GPIO_InitStruct);

  /*Configure GPIO pins : SPI2_MOSI_p2_Pin PB11_Pin */
  GPIO_InitStruct.Pin = SPI2_MOSI_p2_Pin|PB11_Pin;
  GPIO_InitStruct.Mode = GPIO_MODE_OUTPUT_PP;
  GPIO_InitStruct.Pull = GPIO_NOPULL;
  GPIO_InitStruct.Speed = GPIO_SPEED_FREQ_LOW;
  HAL_GPIO_Init(GPIOB, &GPIO_InitStruct);

  /*Configure GPIO pin : INT2_DH_Pin */
  GPIO_InitStruct.Pin = INT2_DH_Pin;
  GPIO_InitStruct.Mode = GPIO_MODE_IT_RISING;
  GPIO_InitStruct.Pull = GPIO_NOPULL;
  HAL_GPIO_Init(INT2_DH_GPIO_Port, &GPIO_InitStruct);

  /*Configure GPIO pin : PE12_Pin */
  GPIO_InitStruct.Pin = PE12_Pin;
  GPIO_InitStruct.Mode = GPIO_MODE_ANALOG;
  GPIO_InitStruct.Pull = GPIO_NOPULL;
  HAL_GPIO_Init(PE12_GPIO_Port, &GPIO_InitStruct);

}

/* USER CODE BEGIN 4 */
void DMATransferComplete(DMA_HandleTypeDef *hdma) {

	// Disable UART DMA mode
//	huart2.Instance->CR3 &= ~USART_CR3_DMAT;

	// Toggle LD2
	HAL_GPIO_TogglePin(GPIOE, LED1_Pin);
}
//Called when first half of buffer is filled
void HAL_ADC_ConvHalfCpltCallback(ADC_HandleTypeDef* hadc){
	// Toggle LD2

//	completo = 1;
}

//Called when buffer is completely filled
void HAL_ADC_ConvCpltCallback(ADC_HandleTypeDef* hadc){
	// Toggle LD2
	//HAL_GPIO_TogglePin(GPIOE, LED1_Pin);
	completo = 1;
}
/* USER CODE END 4 */

void Error_Handler(void)
{
	__disable_irq();
	while (1)
	{
	}
}

/************************ (C) COPYRIGHT STMicroelectronics *****END OF FILE****/
